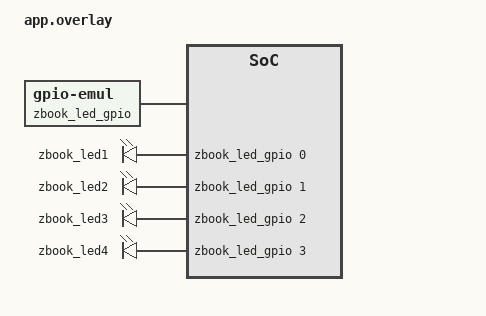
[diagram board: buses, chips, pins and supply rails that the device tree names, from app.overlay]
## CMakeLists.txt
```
# SPDX-License-Identifier: Apache-2.0
#
# Copyright (c) Centro de Inovacao EDGE

cmake_minimum_required(VERSION 3.20.0)

include(${CMAKE_CURRENT_SOURCE_DIR}/../../unit.cmake)
zbook_unit_test(led)
```

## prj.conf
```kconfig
# SPDX-License-Identifier: Apache-2.0
#
# Copyright (c) Centro de Inovacao EDGE

CONFIG_ZTEST=y

# Fine tick resolution so blink periods (ms) aren't aliased by the tick rate
# when sampling the emulated GPIO output between toggles.
CONFIG_SYS_CLOCK_TICKS_PER_SEC=1000

CONFIG_GPIO=y
CONFIG_GPIO_EMUL=y

CONFIG_ZBOOK_LED=y
CONFIG_LED_LOG_LEVEL_ERR=y

# Small periods so blink tests don't burn real wall-clock/simulated time.
CONFIG_ZBOOK_LED_BLINK_DEFAULT_MS=20
CONFIG_ZBOOK_LED_BLINK_SLOW_MS=40
CONFIG_ZBOOK_LED_BLINK_FAST_MS=10
```

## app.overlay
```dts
/*
 * Fake GPIO controller + gpio-leds so zbook_led's led1..led4 aliases
 * resolve on native_sim, with pin state observable via gpio_emul.
 */

#include <zephyr/dt-bindings/gpio/gpio.h>

/ {
	/*
	 * zephyr,deferred-init keeps this controller (and so every led1..led4
	 * port) "not ready" until a test explicitly calls device_init() on
	 * it, so the driver's is_devices_ready()/-ENODEV paths are reachable.
	 */
	zbook_led_gpio: gpio_emul_0 {
		compatible = "zephyr,gpio-emul";
		gpio-controller;
		#gpio-cells = <2>;
		ngpios = <4>;
		status = "okay";
		zephyr,deferred-init;
	};

	zbook_leds {
		compatible = "gpio-leds";

		zbook_led1: led_1 {
			gpios = <&zbook_led_gpio 0 GPIO_ACTIVE_HIGH>;
		};

		zbook_led2: led_2 {
			gpios = <&zbook_led_gpio 1 GPIO_ACTIVE_HIGH>;
		};

		zbook_led3: led_3 {
			gpios = <&zbook_led_gpio 2 GPIO_ACTIVE_HIGH>;
		};

		zbook_led4: led_4 {
			gpios = <&zbook_led_gpio 3 GPIO_ACTIVE_HIGH>;
		};
	};

	aliases {
		zbook-led0 = &zbook_led1;
		zbook-led1 = &zbook_led2;
		zbook-led2 = &zbook_led3;
		zbook-led3 = &zbook_led4;
	};
};
```

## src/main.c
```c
/*******************************************************************
 * @file main.c
 *
 * @brief Unit tests for the Zbook LED actuator interface.
 * @author João Matheus Nascimento Dias (joao.dias@edge.ufal.br)
 *
 * @copyright Copyright (c) 2026
 *
 *******************************************************************/

#include <zephyr/ztest.h>
#include <zephyr/device.h>
#include <zephyr/drivers/gpio.h>
#include <zephyr/drivers/gpio/gpio_emul.h>

#include "actuators/zbook_led.h"

#define LED1_NODE DT_ALIAS(zbook_led0)
#define LED2_NODE DT_ALIAS(zbook_led1)
#define LED3_NODE DT_ALIAS(zbook_led2)
#define LED4_NODE DT_ALIAS(zbook_led3)

/* Index matches enum zbook_led (ZBOOK_LED_1..ZBOOK_LED_4). */
static const struct gpio_dt_spec test_led[] = {
	GPIO_DT_SPEC_GET(LED1_NODE, gpios),
	GPIO_DT_SPEC_GET(LED2_NODE, gpios),
	GPIO_DT_SPEC_GET(LED3_NODE, gpios),
	GPIO_DT_SPEC_GET(LED4_NODE, gpios),
};

static int led_pin_value(enum zbook_led led)
{
	return gpio_emul_output_get(test_led[led].port, test_led[led].pin);
}

/*
 * The gpio_emul controller backing led1..led4 is marked
 * "zephyr,deferred-init" in the overlay, so it boots "not ready". This suite
 * exercises the driver's is_devices_ready()/-ENODEV paths while that holds,
 * then brings the controller up (device_init()) for the rest of the run --
 * it must run before the "zbook_led" suite below, which assumes a ready
 * device in its fixture.
 */
ZTEST_SUITE(zbook_hw_errors, NULL, NULL, NULL, NULL, NULL);

ZTEST(zbook_hw_errors, test_calls_fail_while_device_not_ready)
{
	const struct device *gpio_ctrl = DEVICE_DT_GET(DT_NODELABEL(zbook_led_gpio));

	zassert_false(device_is_ready(gpio_ctrl), "test setup: gpio controller already ready");

	zassert_equal(-ENODEV, zbook_led_init());
	zassert_equal(-ENODEV, zbook_led_on(ZBOOK_LED_1));
	zassert_equal(-ENODEV, zbook_led_off(ZBOOK_LED_1));
	zassert_equal(-ENODEV, zbook_led_blink(ZBOOK_LED_1, ZBOOK_LED_BLINK_FAST));

	zassert_ok(device_init(gpio_ctrl), "failed to bring up gpio controller for later tests");
	zassert_true(device_is_ready(gpio_ctrl));
}

/* Sample much finer than any configured blink period so both edges are observed. */
static void assert_led_blinks(enum zbook_led led, uint32_t period_ms)
{
	bool saw_on = false;
	bool saw_off = false;

	for (int i = 0; i < period_ms * 4; i++) {
		k_msleep(1);

		if (led_pin_value(led)) {
			saw_on = true;
		} else {
			saw_off = true;
		}
	}

	zassert_true(saw_on, "led %d never observed on while blinking", led);
	zassert_true(saw_off, "led %d never observed off while blinking", led);
}

static void zbook_led_before(void *fixture)
{
	ARG_UNUSED(fixture);

	/*
	 * Stop any blink left running by the previous test *before*
	 * re-initializing the timers: zbook_led_init() re-inits the k_timer
	 * objects unconditionally, and re-initializing one still queued in
	 * the kernel's timeout list corrupts that list.
	 */
	zassert_ok(zbook_led_off(ZBOOK_LED_ALL), "failed to reset LEDs off");
	zassert_ok(zbook_led_init(), "zbook_led_init failed");
}

ZTEST_SUITE(zbook_led, NULL, NULL, zbook_led_before, NULL, NULL);

ZTEST(zbook_led, test_init_returns_ok_when_devices_ready)
{
	zassert_ok(zbook_led_init());
}

ZTEST(zbook_led, test_on_sets_pin_high)
{
	zassert_ok(zbook_led_on(ZBOOK_LED_2));
	zassert_equal(1, led_pin_value(ZBOOK_LED_2));
}

ZTEST(zbook_led, test_off_sets_pin_low)
{
	zassert_ok(zbook_led_on(ZBOOK_LED_2));
	zassert_ok(zbook_led_off(ZBOOK_LED_2));
	zassert_equal(0, led_pin_value(ZBOOK_LED_2));
}

ZTEST(zbook_led, test_on_off_does_not_affect_other_leds)
{
	zassert_ok(zbook_led_on(ZBOOK_LED_1));

	zassert_equal(1, led_pin_value(ZBOOK_LED_1));
	zassert_equal(0, led_pin_value(ZBOOK_LED_2));
	zassert_equal(0, led_pin_value(ZBOOK_LED_3));
	zassert_equal(0, led_pin_value(ZBOOK_LED_4));
}

ZTEST(zbook_led, test_all_turns_on_every_led)
{
	zassert_ok(zbook_led_on(ZBOOK_LED_ALL));

	for (enum zbook_led led = ZBOOK_LED_1; led <= ZBOOK_LED_4; led++) {
		zassert_equal(1, led_pin_value(led), "led %d not on", led);
	}
}

ZTEST(zbook_led, test_all_turns_off_every_led)
{
	zassert_ok(zbook_led_on(ZBOOK_LED_ALL));
	zassert_ok(zbook_led_off(ZBOOK_LED_ALL));

	for (enum zbook_led led = ZBOOK_LED_1; led <= ZBOOK_LED_4; led++) {
		zassert_equal(0, led_pin_value(led), "led %d not off", led);
	}
}

ZTEST(zbook_led, test_on_rejects_invalid_led)
{
	zassert_equal(-EINVAL, zbook_led_on((enum zbook_led)-1));
	zassert_equal(-EINVAL, zbook_led_on(_ZBOOK_LED_AMOUNT));
}

ZTEST(zbook_led, test_off_rejects_invalid_led)
{
	zassert_equal(-EINVAL, zbook_led_off((enum zbook_led)-1));
	zassert_equal(-EINVAL, zbook_led_off(_ZBOOK_LED_AMOUNT));
}

ZTEST(zbook_led, test_blink_rejects_invalid_led)
{
	zassert_equal(-EINVAL,
		      zbook_led_blink((enum zbook_led)-1, ZBOOK_LED_BLINK_DEFAULT));
	zassert_equal(-EINVAL, zbook_led_blink(_ZBOOK_LED_AMOUNT, ZBOOK_LED_BLINK_DEFAULT));
}

ZTEST(zbook_led, test_blink_rejects_invalid_state)
{
	zassert_equal(-EINVAL, zbook_led_blink(ZBOOK_LED_1, (enum zbook_led_state)-1));
	zassert_equal(-EINVAL, zbook_led_blink(ZBOOK_LED_1, _ZBOOK_LED_STATE_AMOUNT));
}

ZTEST(zbook_led, test_blink_fast_toggles_pin_periodically)
{
	zassert_ok(zbook_led_blink(ZBOOK_LED_3, ZBOOK_LED_BLINK_FAST));
	assert_led_blinks(ZBOOK_LED_3, CONFIG_ZBOOK_LED_BLINK_FAST_MS);
}

ZTEST(zbook_led, test_blink_default_toggles_pin_periodically)
{
	zassert_ok(zbook_led_blink(ZBOOK_LED_3, ZBOOK_LED_BLINK_DEFAULT));
	assert_led_blinks(ZBOOK_LED_3, CONFIG_ZBOOK_LED_BLINK_DEFAULT_MS);
}

ZTEST(zbook_led, test_blink_slow_toggles_pin_periodically)
{
	zassert_ok(zbook_led_blink(ZBOOK_LED_3, ZBOOK_LED_BLINK_SLOW));
	assert_led_blinks(ZBOOK_LED_3, CONFIG_ZBOOK_LED_BLINK_SLOW_MS);
}

ZTEST(zbook_led, test_blink_all_toggles_every_led)
{
	zassert_ok(zbook_led_blink(ZBOOK_LED_ALL, ZBOOK_LED_BLINK_FAST));

	for (enum zbook_led led = ZBOOK_LED_1; led <= ZBOOK_LED_4; led++) {
		assert_led_blinks(led, CONFIG_ZBOOK_LED_BLINK_FAST_MS);
	}
}

ZTEST(zbook_led, test_on_stops_blink)
{
	zassert_ok(zbook_led_blink(ZBOOK_LED_4, ZBOOK_LED_BLINK_FAST));
	k_msleep(CONFIG_ZBOOK_LED_BLINK_FAST_MS * 3);

	zassert_ok(zbook_led_on(ZBOOK_LED_4));

	for (int i = 0; i < 5; i++) {
		k_msleep(CONFIG_ZBOOK_LED_BLINK_FAST_MS);
		zassert_equal(1, led_pin_value(ZBOOK_LED_4),
			      "LED toggled after on() stopped the blink");
	}
}

ZTEST(zbook_led, test_off_stops_blink)
{
	zassert_ok(zbook_led_blink(ZBOOK_LED_4, ZBOOK_LED_BLINK_FAST));
	k_msleep(CONFIG_ZBOOK_LED_BLINK_FAST_MS * 3);

	zassert_ok(zbook_led_off(ZBOOK_LED_4));

	for (int i = 0; i < 5; i++) {
		k_msleep(CONFIG_ZBOOK_LED_BLINK_FAST_MS);
		zassert_equal(0, led_pin_value(ZBOOK_LED_4),
			      "LED toggled after off() stopped the blink");
	}
}
```
